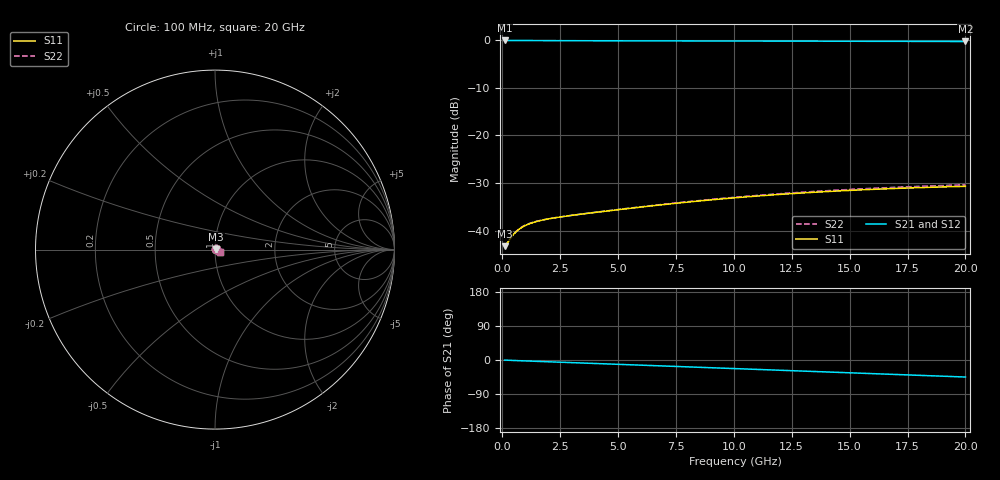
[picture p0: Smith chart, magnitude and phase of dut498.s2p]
! Touchstone file exported from HFSS 2026.1.0
!  File:  C:/ffzhzh/LocalFiles/Ansys_Project_Files/temp_train_BSMRDL_498_1783014143_51716.aedt
!  Generated:  01:44:06 AM Jul  3, 2026
!  Design:  BSMRDL
!  Project:  temp_train_BSMRDL_498_1783014143_51716
! Variables:
!  h_bsmrdl = 2.46um
!  h_ox = 20um
!  h_rdl = 5um
!  h_sub = 80um
!  h_tmrdl = 5um
!  h_tsv = 80um
!  h_via = 3um
!  l_bsmrdl = 804.6um
!  l_sub = 1204.6um
!  l_tmrdl = 200um
!  m_sub = 200um
!  pitch = 20.51um
!  r_tsv = 6um
!  s_tmrdl = 10um
!  w_bsmrdl = 17.61um
!  w_sub = 500um
!  w_tmrdl = 12um
!  x_tsv_center1 = 206um
!  x_tsv_center2 = 1028.21um
!  x_tsv_center3 = 1240.21um
!  x_tsv_center4 = 2062.42um
!  x_tsv_center5 = 2274.42um
!  x_tsv_center6 = 3096.63um
# GHz S MA R 50.000000
! Terminal data exported
! Port[1] = BSM_RDL1_1_T1
! Port[2] = BSM_RDL1_1_T2
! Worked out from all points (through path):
!   200 points, 100 MHz to 20 GHz, reference 50 ohm
!   highest |S21| = -0.06 dB at 100 MHz (marker M1); lowest = -0.3 dB at 20 GHz (marker M2)
!   group delay of S21, straight-line fit = 6.22 ps
!   lowest |S11| = -43.3 dB at 100 MHz (marker M3), VSWR 1.01, Z = 50.7 + j0.0918 ohm
!   |S11| at or under -10 dB: start of sweep to end of sweep
!   |S22| runs from -43.3 to -30.4 dB; largest |S21 - S12| = 3.2e-15
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0.1  0.006855 7.6  0.9932 -0.3  0.9932 -0.3  0.006855 7.6
! Gamma 0 0 0 0
! Port Impedance 50 0 50 0
0.2  0.007319 13.6  0.9929 -0.5  0.9929 -0.5  0.007312 13.7
0.4  0.008577 19.6  0.992 -1.1  0.992 -1.1  0.008595 19.9
0.5  0.009185 20.7  0.9915 -1.3  0.9915 -1.3  0.00923 21.0
0.6  0.00973 21.0  0.9909 -1.6  0.9909 -1.6  0.009801 21.3
0.7  0.01021 21.0  0.9905 -1.8  0.9905 -1.8  0.0103 21.2
0.8  0.01063 20.8  0.99 -2.0  0.99 -2.0  0.01073 20.9
0.9  0.01099 20.6  0.9897 -2.2  0.9897 -2.2  0.0111 20.5
1.1  0.0116 19.9  0.989 -2.7  0.989 -2.7  0.0117 19.6
1.5  0.0125 18.7  0.9882 -3.6  0.9882 -3.6  0.01255 18.3
1.9  0.01314 17.8  0.9876 -4.5  0.9876 -4.5  0.01316 17.4
2.5  0.0139 16.9  0.9871 -5.8  0.9871 -5.8  0.0139 16.7
3.5  0.01498 16.2  0.9863 -8.1  0.9863 -8.1  0.015 16.1
5.1  0.01668 15.1  0.9849 -11.7  0.9849 -11.7  0.01675 14.9
6.8  0.01857 13.0  0.9834 -15.6  0.9834 -15.6  0.0187 12.6
8.5  0.02046 9.7  0.9816 -19.4  0.9816 -19.4  0.02066 9.3
10.1  0.02215 5.8  0.9798 -23.0  0.9798 -23.0  0.02243 5.3
11.7  0.02372 1.4  0.978 -26.6  0.978 -26.6  0.02409 0.8
13.4  0.0252 -3.6  0.976 -30.4  0.976 -30.4  0.02569 -4.3
15  0.02642 -8.6  0.9742 -33.9  0.9742 -33.9  0.02703 -9.4
16.7  0.02753 -14.0  0.9723 -37.7  0.9723 -37.7  0.02828 -14.9
20  0.02915 -24.6  0.9688 -44.9  0.9688 -44.9  0.03021 -25.6
